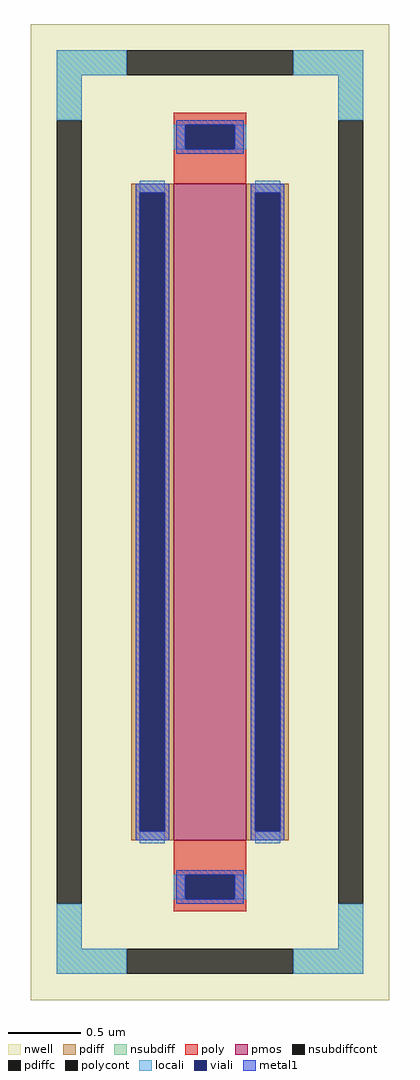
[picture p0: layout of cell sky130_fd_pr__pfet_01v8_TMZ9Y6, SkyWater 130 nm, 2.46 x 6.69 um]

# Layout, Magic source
magic
tech sky130A
magscale 1 2
<< nwell >>
rect -246 -669 246 669
<< pmos >>
rect -50 -450 50 450
<< pdiff >>
rect -108 438 -50 450
rect -108 -438 -96 438
rect -62 -438 -50 438
rect -108 -450 -50 -438
rect 50 438 108 450
rect 50 -438 62 438
rect 96 -438 108 438
rect 50 -450 108 -438
<< pdiffc >>
rect -96 -438 -62 438
rect 62 -438 96 438
<< nsubdiff >>
rect -210 599 -114 633
rect 114 599 210 633
rect -210 537 -176 599
rect 176 537 210 599
rect -210 -599 -176 -537
rect 176 -599 210 -537
rect -210 -633 -114 -599
rect 114 -633 210 -599
<< nsubdiffcont >>
rect -114 599 114 633
rect -210 -537 -176 537
rect 176 -537 210 537
rect -114 -633 114 -599
<< poly >>
rect -50 531 50 547
rect -50 497 -34 531
rect 34 497 50 531
rect -50 450 50 497
rect -50 -497 50 -450
rect -50 -531 -34 -497
rect 34 -531 50 -497
rect -50 -547 50 -531
<< polycont >>
rect -34 497 34 531
rect -34 -531 34 -497
<< locali >>
rect -210 599 -114 633
rect 114 599 210 633
rect -210 537 -176 599
rect 176 537 210 599
rect -50 497 -34 531
rect 34 497 50 531
rect -96 438 -62 454
rect -96 -454 -62 -438
rect 62 438 96 454
rect 62 -454 96 -438
rect -50 -531 -34 -497
rect 34 -531 50 -497
rect -210 -599 -176 -537
rect 176 -599 210 -537
rect -210 -633 -114 -599
rect 114 -633 210 -599
<< viali >>
rect -34 497 34 531
rect -96 -438 -62 438
rect 62 -438 96 438
rect -34 -531 34 -497
<< metal1 >>
rect -46 531 46 537
rect -46 497 -34 531
rect 34 497 46 531
rect -46 491 46 497
rect -102 438 -56 450
rect -102 -438 -96 438
rect -62 -438 -56 438
rect -102 -450 -56 -438
rect 56 438 102 450
rect 56 -438 62 438
rect 96 -438 102 438
rect 56 -450 102 -438
rect -46 -497 46 -491
rect -46 -531 -34 -497
rect 34 -531 46 -497
rect -46 -537 46 -531
<< properties >>
string FIXED_BBOX -193 -616 193 616
string gencell sky130_fd_pr__pfet_01v8
string library sky130
string parameters w 4.5 l 0.5 m 1 nf 1 diffcov 100 polycov 100 guard 1 glc 1 grc 1 gtc 1 gbc 1 tbcov 100 rlcov 100 topc 1 botc 1 poverlap 0 doverlap 1 lmin 0.15 wmin 0.42 compatible {sky130_fd_pr__pfet_01v8  sky130_fd_pr__pfet_01v8_lvt sky130_fd_pr__pfet_01v8_hvt  sky130_fd_pr__pfet_g5v0d10v5} full_metal 1 viasrc 100 viadrn 100 viagate 100 viagb 0 viagr 0 viagl 0 viagt 0
<< end >>
